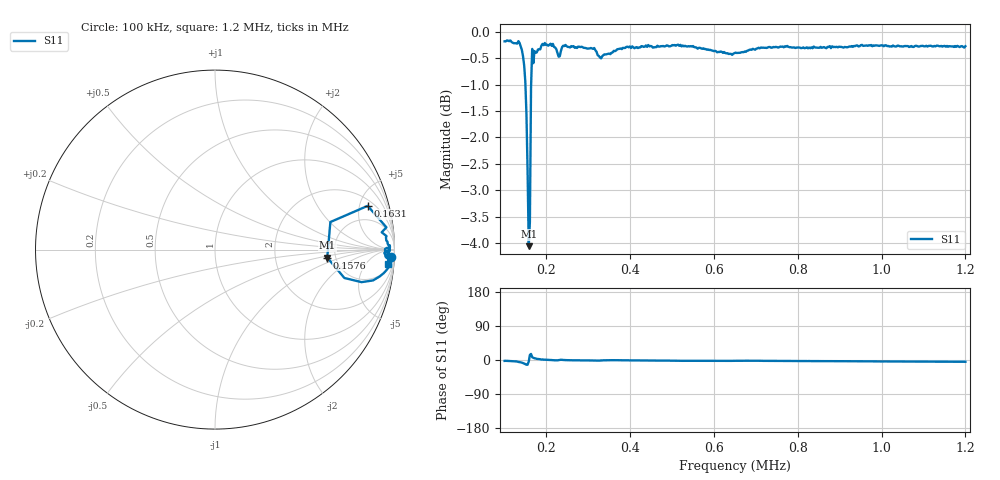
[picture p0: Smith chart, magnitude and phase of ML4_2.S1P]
!Agilent Technologies,E5071C,MY46100265,A.07.02
!Date: Wed Mar 04 14:56:37 2020
!Data & Calibration Information:
!Freq	S11:SOLT1(ON)
# Hz S MA R 50
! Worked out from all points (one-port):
!   402 points, 100 kHz to 1.2 MHz, reference 50 ohm
!   lowest |S11| = -4.1 dB at 157.6 kHz (marker M1), VSWR 4.36, Z = 213 - j31.3 ohm
!   |S11| at or under -10 dB: nowhere
!   S11 on the Smith chart (normalised r, x): 100 kHz: 19, -38; 157.6 kHz: 4.27, -0.63; 163.1 kHz: 2.65, +5.97; 1.2 MHz: 8, -21
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100000  0.9791 -2.4
124688  0.9752 -3.6
138404  0.9684 -6.2
143890  0.9482 -8.0
146633  0.9295 -9.3
149377  0.8975 -11.0
152120  0.8365 -12.5
154863  0.7381 -12.4
157606  0.6271 -4.1
163092  0.885 16.0
165835  0.9631 7.4
168579  0.9336 5.9
171322  0.9587 4.5
182294  0.9625 2.3
193267  0.971 0.9
220698  0.9661 -0.8
228928  0.947 -0.3
239900  0.9699 0.1
319451  0.9572 -1.8
330424  0.9435 -1.1
377057  0.9639 -0.6
514214  0.9721 -2.0
596509  0.9595 -2.5
651372  0.9554 -2.1
788529  0.966 -2.8
925686  0.9679 -3.3
1062843  0.969 -3.9
1200000  0.9687 -4.7
